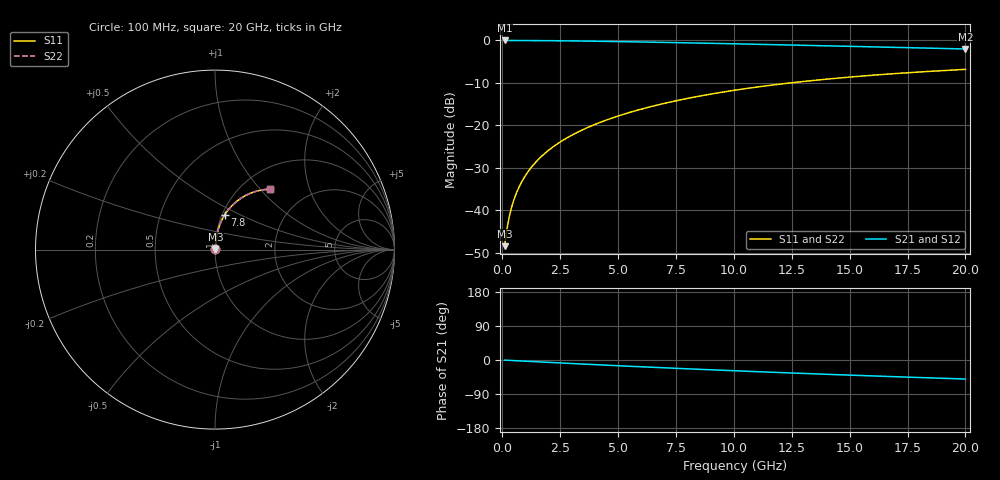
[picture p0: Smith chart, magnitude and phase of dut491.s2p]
! Touchstone file exported from HFSS 2024.1.0
!  File:  C:/UserFiles/LocalFiles/RDL_TSV_Batchsim/temp_RDL_top_491_1779678677.aedt
!  Generated:  11:13:44 AM May 25, 2026
!  Design:  RDL_top
!  Project:  temp_RDL_top_491_1779678677
!  Setup:  Setup1
!  Solution:  Sweep
! Variables:
!  dtsv = 10.80580581um
!  hbump = 3um
!  htsv = 70.12um
!  ldown = 100um
!  lrdl = 699.73um
!  p = 40
!  p1 = 59.56um
!  rhole = 1um
!  t = 450um
!  tdown = 3.915915916um
!  trdl = 4.72um
!  wdown = 15.38538539um
!  wrdl = 21.31um
# GHz S MA R 50.000000
! Terminal data exported
! Port[1] = Box2_T1
! Port[2] = Box2_T2
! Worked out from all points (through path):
!   200 points, 100 MHz to 20 GHz, reference 50 ohm
!   highest |S21| = -0.02 dB at 100 MHz (marker M1); lowest = -2.0 dB at 20 GHz (marker M2)
!   group delay of S21, straight-line fit = 6.92 ps
!   lowest |S11| = -48.5 dB at 100 MHz (marker M3), VSWR 1.01, Z = 50.3 + j0.271 ohm
!   |S11| at or under -10 dB: start of sweep to 12.49 GHz
!   |S22| runs from -48.5 to -6.8 dB; largest |S21 - S12| = 4.4e-15
!   S11 on the Smith chart (normalised r, x): 100 MHz: 1.01, +0.01; 7.8 GHz: 1.03, +0.42; 20 GHz: 1.33, +1.13
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0.1  0.003758 45.8  0.9974 -0.3  0.9974 -0.3  0.003758 45.8
! Gamma 0 0 0 0
! Port Impedance 50 0 50 0
0.2  0.005981 62.4  0.9972 -0.6  0.9972 -0.6  0.005981 62.4
0.3  0.008356 69.5  0.997 -1.0  0.997 -1.0  0.008356 69.5
0.4  0.01076 73.5  0.9968 -1.3  0.9968 -1.3  0.01076 73.5
0.5  0.01319 76.1  0.9966 -1.6  0.9966 -1.6  0.01319 76.1
0.6  0.01564 77.9  0.9965 -1.9  0.9965 -1.9  0.01564 77.9
0.8  0.02057 80.1  0.996 -2.5  0.996 -2.5  0.02057 80.1
1.1  0.02804 81.9  0.9952 -3.5  0.9952 -3.5  0.02804 81.9
1.5  0.03808 82.9  0.9938 -4.7  0.9938 -4.7  0.03808 82.9
1.8  0.04565 83.2  0.9924 -5.6  0.9924 -5.6  0.04565 83.2
2.1  0.05325 83.3  0.9909 -6.6  0.9909 -6.6  0.05325 83.3
2.7  0.06856 83.0  0.9872 -8.4  0.9872 -8.4  0.06856 83.0
3.5  0.08916 82.2  0.9813 -10.8  0.9813 -10.8  0.08918 82.2
4.2  0.1074 81.3  0.9753 -12.9  0.9753 -12.9  0.1074 81.3
5  0.1283 80.0  0.9677 -15.1  0.9677 -15.1  0.1284 80.0
6.8  0.1758 76.5  0.9487 -20.1  0.9487 -20.1  0.1758 76.5
7.8  0.2019 74.3  0.9373 -22.8  0.9373 -22.8  0.202 74.4
10.1  0.2601 69.1  0.9101 -28.6  0.9101 -28.6  0.2602 69.1
11.7  0.2983 65.4  0.8906 -32.5  0.8906 -32.5  0.2984 65.4
13.4  0.3362 61.5  0.8698 -36.4  0.8698 -36.4  0.3363 61.6
16.7  0.4012 54.3  0.8297 -43.6  0.8297 -43.6  0.4015 54.4
20  0.4551 47.7  0.7915 -50.2  0.7915 -50.2  0.4554 47.7
